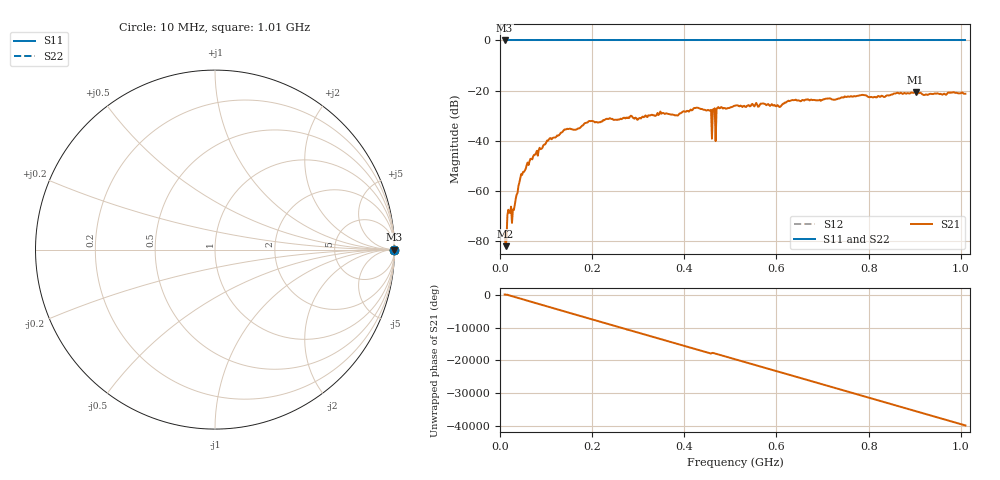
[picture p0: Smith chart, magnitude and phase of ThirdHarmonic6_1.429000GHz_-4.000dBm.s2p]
! 8/16/2025 4:27:55 PM
! C:\ANRITSUVNA\TEMP\TEMP.S2P
! CHANNEL.1
! TR.MEASUREMENT
! RAW.DATA
! RF.CORRECTION.OFF
! AVERAGING.OFF
! IF.BANDWIDTH: 5KHZ
! SWEEPTYPE:  FREQ.SWEEP(Linear)
! Reference Plane Port Info
! PORT:  PORT1  PORT2
! DISTANCE:  0  m  0  m
! TIME:  0  s  0  s
! PHASE.OFFSET:  0  deg.  0  deg.
! LOSS:  0  dB  0  dB
! REF.LOSS:  0  dB  0  dB
! REF.FREQ:  0  Hz  0  Hz
! Power Info
! POWER:  -20  dBm  -20  dBm
! EFF.POWER:  -20  dBm  -20  dBm
! SOURCE.ATTEN:  0  dB  0  dB
! TEST.ATTEN:  0  dB  0  dB
# GHZ S RI R 50.0
! FREQ.GHZ  S11RE  S11IM  S21RE  S21IM  S12RE  S12IM  S22RE  S22IM
!; PortSelection: Port_12
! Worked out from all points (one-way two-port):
!   501 points, 10 MHz to 1.01 GHz, reference 50 ohm
!   highest |S21| = -20.57 dB at 902 MHz (marker M1); lowest = -81.9 dB at 12 MHz (marker M2)
!   lowest |S11| = 0.0 dB at 10 MHz (marker M3)
!   |S11| at or under -10 dB: nowhere
!   |S22| runs from 0.0 to 0.0 dB; largest |S21 - S12| = 1.1
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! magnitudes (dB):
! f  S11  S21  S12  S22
! 10 MHz  0.0  -76.7  0.0  0.0
! 12 MHz  0.0  -81.9  0.0  0.0
! 20 MHz  0.0  -68.6  0.0  0.0
! 30 MHz  0.0  -67.6  0.0  0.0
! 44 MHz  0.0  -54.9  0.0  0.0
! 62 MHz  0.0  -49.6  0.0  0.0
! 106 MHz  0.0  -39.5  0.0  0.0
! 178 MHz  0.0  -34.0  0.0  0.0
! 344 MHz  0.0  -29.7  0.0  0.0
! 384 MHz  0.0  -29.8  0.0  0.0
! 430 MHz  0.0  -26.8  0.0  0.0
! 454 MHz  0.0  -27.9  0.0  0.0
! 456 MHz  0.0  -28.0  0.0  0.0
! 462 MHz  0.0  -27.5  0.0  0.0
! 464 MHz  0.0  -27.4  0.0  0.0
! 472 MHz  0.0  -26.8  0.0  0.0
! 474 MHz  0.0  -26.5  0.0  0.0
! 510 MHz  0.0  -26.0  0.0  0.0
! 678 MHz  0.0  -23.8  0.0  0.0
! 844 MHz  0.0  -21.9  0.0  0.0
! 902 MHz  0.0  -20.6  0.0  0.0
! 1.01 GHz  0.0  -21.2  0.0  0.0
